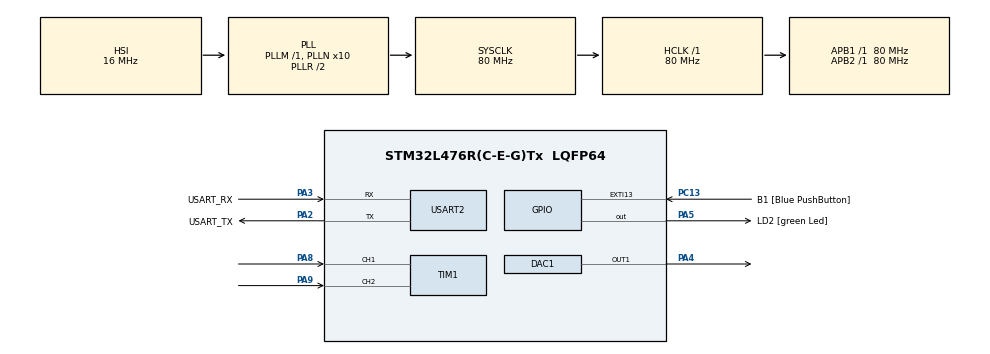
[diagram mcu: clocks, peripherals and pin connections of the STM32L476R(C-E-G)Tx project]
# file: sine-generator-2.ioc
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Dma.Request0=USART2_RX
Dma.USART2_RX.0.Direction=DMA_PERIPH_TO_MEMORY
Dma.USART2_RX.0.Instance=DMA1_Channel6
Dma.USART2_RX.0.MemDataAlignment=DMA_MDATAALIGN_BYTE
Dma.USART2_RX.0.MemInc=DMA_MINC_ENABLE
Dma.USART2_RX.0.Mode=DMA_NORMAL
Dma.USART2_RX.0.PeriphDataAlignment=DMA_PDATAALIGN_BYTE
Dma.USART2_RX.0.PeriphInc=DMA_PINC_DISABLE
Dma.USART2_RX.0.Priority=DMA_PRIORITY_LOW
FREERTOS.Mutexes01=encoderMutex,Dynamic,NULL,Available
FREERTOS.Queues01=encoderQueue,16,uint16_t,0,Dynamic,NULL,NULL
FREERTOS.Tasks01=encoderTask,32,128,StartEncoderTask,Default,NULL,Dynamic,NULL,NULL;dacTask,24,128,StartDacTask,Default,NULL,Dynamic,NULL,NULL;ledTask,8,128,StartLedTask,Default,NULL,Dynamic,NULL,NULL;uartTask,16,512,StartUartTask,Default,NULL,Dynamic,NULL,NULL
FREERTOS.configTOTAL_HEAP_SIZE=5000
FREERTOS.configUSE_NEWLIB_REENTRANT=1
Mcu.Family=STM32L4
Mcu.Name=STM32L476R(C-E-G)Tx
Mcu.Package=LQFP64
NVIC.DMA1_Channel6_IRQn=true\:5\:0\:false\:false\:true\:true\:false\:true\:true
NVIC.PriorityGroup=NVIC_PRIORITYGROUP_4
NVIC.TIM1_UP_TIM16_IRQn=true\:15\:0\:false\:false\:true\:false\:false\:true\:true
NVIC.TimeBase=TIM1_UP_TIM16_IRQn
NVIC.TimeBaseIP=TIM16
NVIC.USART2_IRQn=true\:5\:0\:false\:false\:true\:true\:true\:true\:true
PA13\ (JTMS-SWDIO).GPIO_Label=TMS
PA13\ (JTMS-SWDIO).Mode=Serial_Wire
PA13\ (JTMS-SWDIO).Signal=SYS_JTMS-SWDIO
PA14\ (JTCK-SWCLK).GPIO_Label=TCK
PA14\ (JTCK-SWCLK).Mode=Serial_Wire
PA14\ (JTCK-SWCLK).Signal=SYS_JTCK-SWCLK
PA2.GPIO_Label=USART_TX
PA2.GPIO_Mode=GPIO_MODE_AF_PP
PA2.GPIO_PuPd=GPIO_NOPULL
PA2.GPIO_Speed=GPIO_SPEED_FREQ_VERY_HIGH
PA2.Mode=Asynchronous
PA2.Signal=USART2_TX
PA3.GPIO_Label=USART_RX
PA3.GPIO_Mode=GPIO_MODE_AF_PP
PA3.GPIO_PuPd=GPIO_NOPULL
PA3.GPIO_Speed=GPIO_SPEED_FREQ_VERY_HIGH
PA3.Mode=Asynchronous
PA3.Signal=USART2_RX
PA4.Signal=COMP_DAC11_group
PA5.GPIO_Label=LD2 [green Led]
PA5.GPIO_ModeDefaultOutputPP=GPIO_MODE_OUTPUT_PP
PA5.GPIO_PuPd=GPIO_NOPULL
PA5.GPIO_Speed=GPIO_SPEED_FREQ_LOW
PA5.Signal=GPIO_Output
PA8.GPIO_PuPd=GPIO_PULLUP
PA8.Signal=S_TIM1_CH1
PA9.GPIO_PuPd=GPIO_PULLUP
PA9.Signal=S_TIM1_CH2
PB3\ (JTDO-TRACESWO).GPIO_Label=SWO
PB3\ (JTDO-TRACESWO).Signal=SYS_JTDO-SWO
PC13.GPIO_Label=B1 [Blue PushButton]
PC13.GPIO_ModeDefaultEXTI=GPIO_MODE_IT_FALLING
PC13.GPIO_PuPd=GPIO_NOPULL
PC13.Signal=GPXTI13
PC14-OSC32_IN\ (PC14).Signal=RCC_OSC32_IN
PC15-OSC32_OUT\ (PC15).Signal=RCC_OSC32_OUT
PH0-OSC_IN\ (PH0).Signal=RCC_OSC_IN
PH1-OSC_OUT\ (PH1).Signal=RCC_OSC_OUT
ProjectManager.HeapSize=0x200
ProjectManager.StackSize=0x400
ProjectManager.TargetToolchain=STM32CubeIDE
RCC.ADCFreq_Value=80000000
RCC.AHBFreq_Value=80000000
RCC.APB1Freq_Value=80000000
RCC.APB1TimFreq_Value=80000000
RCC.APB2Freq_Value=80000000
RCC.APB2TimFreq_Value=80000000
RCC.CortexFreq_Value=80000000
RCC.HCLKFreq_Value=80000000
RCC.HSE_VALUE=8000000
RCC.HSI_VALUE=16000000
RCC.LSE_VALUE=32768
RCC.MSI_VALUE=4000000
RCC.PLLN=10
RCC.PLLSAI1N=10
RCC.PLLSAI2N=10
RCC.PLLSourceVirtual=RCC_PLLSOURCE_HSI
RCC.PREFETCH_ENABLE=1
RCC.SYSCLKFreq_VALUE=80000000
RCC.SYSCLKSource=RCC_SYSCLKSOURCE_PLLCLK
RCC.USBFreq_Value=80000000
RCC.VCOOutputFreq_Value=160000000
SH.COMP_DAC11_group.0=DAC1_OUT1,DAC_OUT1
SH.S_TIM1_CH1.0=TIM1_CH1,Encoder_Interface
SH.S_TIM1_CH2.0=TIM1_CH2,Encoder_Interface
USART2.VirtualMode-Asynchronous=VM_ASYNC
VP_FREERTOS_VS_CMSIS_V2.Mode=CMSIS_V2
VP_SYS_VS_tim16.Mode=TIM16
board=NUCLEO-L476RG

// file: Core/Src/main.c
/* USER CODE BEGIN Header */
/**
 ******************************************************************************
 * @file           : main.c
 * @brief          : Main program body
 ******************************************************************************
 * @attention
 *
 * Copyright (c) 2026 STMicroelectronics.
 * All rights reserved.
 *
 * This software is licensed under terms that can be found in the LICENSE file
 * in the root directory of this software component.
 * If no LICENSE file comes with this software, it is provided AS-IS.
 *
 ******************************************************************************
 */
/* USER CODE END Header */
#include "main.h"
#include "cmsis_os.h"
#include "stdio.h"

DAC_HandleTypeDef hdac1;

TIM_HandleTypeDef htim1;

UART_HandleTypeDef huart2;
DMA_HandleTypeDef hdma_usart2_rx;

/* Definitions for encoderTask */
osThreadId_t encoderTaskHandle;
const osThreadAttr_t encoderTask_attributes = {
    .name = "encoderTask",
    .stack_size = 128 * 4,
    .priority = (osPriority_t)osPriorityAboveNormal,
};
/* Definitions for dacTask */
osThreadId_t dacTaskHandle;
const osThreadAttr_t dacTask_attributes = {
    .name = "dacTask",
    .stack_size = 128 * 4,
    .priority = (osPriority_t)osPriorityNormal,
};
/* Definitions for ledTask */
osThreadId_t ledTaskHandle;
const osThreadAttr_t ledTask_attributes = {
    .name = "ledTask",
    .stack_size = 128 * 4,
    .priority = (osPriority_t)osPriorityLow,
};
/* Definitions for uartTask */
osThreadId_t uartTaskHandle;
const osThreadAttr_t uartTask_attributes = {
    .name = "uartTask",
    .stack_size = 512 * 4,
    .priority = (osPriority_t)osPriorityBelowNormal,
};
/* Definitions for encoderQueue */
osMessageQueueId_t encoderQueueHandle;
const osMessageQueueAttr_t encoderQueue_attributes = {.name = "encoderQueue"};
/* Definitions for encoderMutex */
osMutexId_t encoderMutexHandle;
const osMutexAttr_t encoderMutex_attributes = {.name = "encoderMutex"};
/* USER CODE BEGIN PV */
#define RX_BUF_SIZE 64

uint8_t rx_buffer[RX_BUF_SIZE];

volatile uint32_t shared_encoder_value = 0;

#ifdef __GNUC__
#define PUTCHAR_PROTOTYPE int __io_putchar(int ch)
#else
#define PUTCHAR_PROTOTYPE int fputc(int ch, FILE *f)
#endif

PUTCHAR_PROTOTYPE {
  HAL_UART_Transmit(&huart2, (uint8_t *)&ch, 1, HAL_MAX_DELAY);
  return ch;
}
/* USER CODE END PV */

void SystemClock_Config(void);
static void MX_GPIO_Init(void);
static void MX_DMA_Init(void);
static void MX_TIM1_Init(void);
static void MX_DAC1_Init(void);
static void MX_USART2_UART_Init(void);
void StartEncoderTask(void *argument);
void StartDacTask(void *argument);
void StartLedTask(void *argument);
void StartUartTask(void *argument);

/* USER CODE BEGIN 0 */
volatile uint16_t enc = 0;
volatile uint8_t direction = 0;
volatile uint8_t rx_ready = 0;
/* USER CODE END 0 */

int main(void) {

  /* MCU Configuration--------------------------------------------------------*/

  /* Reset of all peripherals, Initializes the Flash interface and the Systick.
   */
  HAL_Init();

  /* Configure the system clock */
  SystemClock_Config();

  /* Initialize all configured peripherals */
  MX_GPIO_Init();
  MX_DMA_Init();
  MX_TIM1_Init();
  MX_DAC1_Init();
  MX_USART2_UART_Init();
  /* USER CODE BEGIN 2 */
  HAL_TIM_Encoder_Start(&htim1, TIM_CHANNEL_ALL);
  HAL_UART_Receive_DMA(&huart2, rx_buffer, RX_BUF_SIZE);
  /* USER CODE END 2 */

  /* Init scheduler */
  osKernelInitialize();
  /* Create the mutex(es) */
  /* creation of encoderMutex */
  encoderMutexHandle = osMutexNew(&encoderMutex_attributes);

  /* Create the queue(s) */
  /* creation of encoderQueue */
  encoderQueueHandle =
      osMessageQueueNew(16, sizeof(uint16_t), &encoderQueue_attributes);

  /* Create the thread(s) */
  /* creation of encoderTask */
  encoderTaskHandle =
      osThreadNew(StartEncoderTask, NULL, &encoderTask_attributes);

  /* creation of dacTask */
  dacTaskHandle = osThreadNew(StartDacTask, NULL, &dacTask_attributes);

  /* creation of ledTask */
  ledTaskHandle = osThreadNew(StartLedTask, NULL, &ledTask_attributes);

  /* creation of uartTask */
  uartTaskHandle = osThreadNew(StartUartTask, NULL, &uartTask_attributes);

  /* Start scheduler */
  osKernelStart();

  /* We should never get here as control is now taken by the scheduler */

  /* Infinite loop */
  while (1) {

  }
}

void SystemClock_Config(void) {
  RCC_OscInitTypeDef RCC_OscInitStruct = {0};
  RCC_ClkInitTypeDef RCC_ClkInitStruct = {0};

  /** Configure the main internal regulator output voltage
   */
  if (HAL_PWREx_ControlVoltageScaling(PWR_REGULATOR_VOLTAGE_SCALE1) != HAL_OK) {
    Error_Handler();
  }

  /** Initializes the RCC Oscillators according to the specified parameters
   * in the RCC_OscInitTypeDef structure.
   */
  RCC_OscInitStruct.OscillatorType = RCC_OSCILLATORTYPE_HSI;
  RCC_OscInitStruct.HSIState = RCC_HSI_ON;
  RCC_OscInitStruct.HSICalibrationValue = RCC_HSICALIBRATION_DEFAULT;
  RCC_OscInitStruct.PLL.PLLState = RCC_PLL_ON;
  RCC_OscInitStruct.PLL.PLLSource = RCC_PLLSOURCE_HSI;
  RCC_OscInitStruct.PLL.PLLM = 1;
  RCC_OscInitStruct.PLL.PLLN = 10;
  RCC_OscInitStruct.PLL.PLLP = RCC_PLLP_DIV7;
  RCC_OscInitStruct.PLL.PLLQ = RCC_PLLQ_DIV2;
  RCC_OscInitStruct.PLL.PLLR = RCC_PLLR_DIV2;
  if (HAL_RCC_OscConfig(&RCC_OscInitStruct) != HAL_OK) {
    Error_Handler();
  }

  /** Initializes the CPU, AHB and APB buses clocks
   */
  RCC_ClkInitStruct.ClockType = RCC_CLOCKTYPE_HCLK | RCC_CLOCKTYPE_SYSCLK |
                                RCC_CLOCKTYPE_PCLK1 | RCC_CLOCKTYPE_PCLK2;
  RCC_ClkInitStruct.SYSCLKSource = RCC_SYSCLKSOURCE_PLLCLK;
  RCC_ClkInitStruct.AHBCLKDivider = RCC_SYSCLK_DIV1;
  RCC_ClkInitStruct.APB1CLKDivider = RCC_HCLK_DIV1;
  RCC_ClkInitStruct.APB2CLKDivider = RCC_HCLK_DIV1;

  if (HAL_RCC_ClockConfig(&RCC_ClkInitStruct, FLASH_LATENCY_4) != HAL_OK) {
    Error_Handler();
  }
}

static void MX_DAC1_Init(void) {

  DAC_ChannelConfTypeDef sConfig = {0};

  /** DAC Initialization
   */
  hdac1.Instance = DAC1;
  if (HAL_DAC_Init(&hdac1) != HAL_OK) {
    Error_Handler();
  }

  /** DAC channel OUT1 config
   */
  sConfig.DAC_SampleAndHold = DAC_SAMPLEANDHOLD_DISABLE;
  sConfig.DAC_Trigger = DAC_TRIGGER_NONE;
  sConfig.DAC_OutputBuffer = DAC_OUTPUTBUFFER_ENABLE;
  sConfig.DAC_ConnectOnChipPeripheral = DAC_CHIPCONNECT_DISABLE;
  sConfig.DAC_UserTrimming = DAC_TRIMMING_FACTORY;
  if (HAL_DAC_ConfigChannel(&hdac1, &sConfig, DAC_CHANNEL_1) != HAL_OK) {
    Error_Handler();
  }
}

static void MX_TIM1_Init(void) {

  TIM_Encoder_InitTypeDef sConfig = {0};
  TIM_MasterConfigTypeDef sMasterConfig = {0};

  htim1.Instance = TIM1;
  htim1.Init.Prescaler = 0;
  htim1.Init.CounterMode = TIM_COUNTERMODE_UP;
  htim1.Init.Period = 65535;
  htim1.Init.ClockDivision = TIM_CLOCKDIVISION_DIV1;
  htim1.Init.RepetitionCounter = 0;
  htim1.Init.AutoReloadPreload = TIM_AUTORELOAD_PRELOAD_DISABLE;
  sConfig.EncoderMode = TIM_ENCODERMODE_TI1;
  sConfig.IC1Polarity = TIM_ICPOLARITY_RISING;
  sConfig.IC1Selection = TIM_ICSELECTION_DIRECTTI;
  sConfig.IC1Prescaler = TIM_ICPSC_DIV1;
  sConfig.IC1Filter = 0;
  sConfig.IC2Polarity = TIM_ICPOLARITY_RISING;
  sConfig.IC2Selection = TIM_ICSELECTION_DIRECTTI;
  sConfig.IC2Prescaler = TIM_ICPSC_DIV1;
  sConfig.IC2Filter = 0;
  if (HAL_TIM_Encoder_Init(&htim1, &sConfig) != HAL_OK) {
    Error_Handler();
  }
  sMasterConfig.MasterOutputTrigger = TIM_TRGO_RESET;
  sMasterConfig.MasterOutputTrigger2 = TIM_TRGO2_RESET;
  sMasterConfig.MasterSlaveMode = TIM_MASTERSLAVEMODE_DISABLE;
  if (HAL_TIMEx_MasterConfigSynchronization(&htim1, &sMasterConfig) != HAL_OK) {
    Error_Handler();
  }
}

static void MX_USART2_UART_Init(void) {

  huart2.Instance = USART2;
  huart2.Init.BaudRate = 115200;
  huart2.Init.WordLength = UART_WORDLENGTH_8B;
  huart2.Init.StopBits = UART_STOPBITS_1;
  huart2.Init.Parity = UART_PARITY_NONE;
  huart2.Init.Mode = UART_MODE_TX_RX;
  huart2.Init.HwFlowCtl = UART_HWCONTROL_NONE;
  huart2.Init.OverSampling = UART_OVERSAMPLING_16;
  huart2.Init.OneBitSampling = UART_ONE_BIT_SAMPLE_DISABLE;
  huart2.AdvancedInit.AdvFeatureInit = UART_ADVFEATURE_NO_INIT;
  if (HAL_UART_Init(&huart2) != HAL_OK) {
    Error_Handler();
  }
}

static void MX_DMA_Init(void) {

  /* DMA controller clock enable */
  __HAL_RCC_DMA1_CLK_ENABLE();

  /* DMA interrupt init */
  /* DMA1_Channel6_IRQn interrupt configuration */
  HAL_NVIC_SetPriority(DMA1_Channel6_IRQn, 5, 0);
  HAL_NVIC_EnableIRQ(DMA1_Channel6_IRQn);
}

static void MX_GPIO_Init(void) {
  GPIO_InitTypeDef GPIO_InitStruct = {0};

  /* GPIO Ports Clock Enable */
  __HAL_RCC_GPIOC_CLK_ENABLE();
  __HAL_RCC_GPIOH_CLK_ENABLE();
  __HAL_RCC_GPIOA_CLK_ENABLE();
  __HAL_RCC_GPIOB_CLK_ENABLE();

  /*Configure GPIO pin Output Level */
  HAL_GPIO_WritePin(LD2_GPIO_Port, LD2_Pin, GPIO_PIN_RESET);

  /*Configure GPIO pin : B1_Pin */
  GPIO_InitStruct.Pin = B1_Pin;
  GPIO_InitStruct.Mode = GPIO_MODE_IT_FALLING;
  GPIO_InitStruct.Pull = GPIO_NOPULL;
  HAL_GPIO_Init(B1_GPIO_Port, &GPIO_InitStruct);

  /*Configure GPIO pin : LD2_Pin */
  GPIO_InitStruct.Pin = LD2_Pin;
  GPIO_InitStruct.Mode = GPIO_MODE_OUTPUT_PP;
  GPIO_InitStruct.Pull = GPIO_NOPULL;
  GPIO_InitStruct.Speed = GPIO_SPEED_FREQ_LOW;
  HAL_GPIO_Init(LD2_GPIO_Port, &GPIO_InitStruct);

}

void StartEncoderTask(void *argument) {
  /* USER CODE BEGIN 5 */
  uint16_t enc;
  /* Infinite loop */
  for (;;) {
    enc = __HAL_TIM_GET_COUNTER(&htim1);
    direction = __HAL_TIM_IS_TIM_COUNTING_DOWN(&htim1);
    osMessageQueuePut(encoderQueueHandle, &enc, 0, 0);
    osDelay(20);
  }
  /* USER CODE END 5 */
}

void StartDacTask(void *argument) {
  /* USER CODE BEGIN StartDacTask */
  uint16_t enc;
  HAL_DAC_Start(&hdac1, DAC_CHANNEL_1);
  /* Infinite loop */
  for (;;) {
    if (osMessageQueueGet(encoderQueueHandle, &enc, NULL, osWaitForever) ==
        osOK) {
      if (osMutexAcquire(encoderMutexHandle, osWaitForever) == osOK) {
        shared_encoder_value = enc;
        osMutexRelease(encoderMutexHandle);
      }
      uint32_t dac_value = enc >> 4;
      HAL_DAC_SetValue(&hdac1, DAC_CHANNEL_1, DAC_ALIGN_12B_R, dac_value);
    }
  }
  /* USER CODE END StartDacTask */
}

void StartLedTask(void *argument) {
  /* USER CODE BEGIN StartLedTask */
  /* Infinite loop */
  for (;;) {
    uint16_t enc = 0;
    if (osMutexAcquire(encoderMutexHandle, osWaitForever) == osOK) {
      enc = shared_encoder_value;
      osMutexRelease(encoderMutexHandle);
    }
    HAL_GPIO_TogglePin(LD2_GPIO_Port, LD2_Pin);
    osDelay(50 + (enc % 200));
  }
  /* USER CODE END StartLedTask */
}

void StartUartTask(void *argument) {
  /* USER CODE BEGIN StartUartTask */
  /* Infinite loop */
  for (;;) {
    uint16_t enc = 0;
    if (osMutexAcquire(encoderMutexHandle, osWaitForever) == osOK) {
      enc = shared_encoder_value;
      osMutexRelease(encoderMutexHandle);
    }
    uint32_t dac = enc >> 4;
    printf("Encoder: %d | DAC: %lu\r\n", enc, dac);
    osDelay(150);
  }
  /* USER CODE END StartUartTask */
}

void HAL_TIM_PeriodElapsedCallback(TIM_HandleTypeDef *htim) {
  if (htim->Instance == TIM16) {
    HAL_IncTick();
  }
}

void Error_Handler(void) {
  __disable_irq();
  while (1) {
  }
}
#ifdef USE_FULL_ASSERT
/**
 * @brief  Reports the name of the source file and the source line number
 *         where the assert_param error has occurred.
 * @param  file: pointer to the source file name
 * @param  line: assert_param error line source number
 * @retval None
 */
void assert_failed(uint8_t *file, uint32_t line) {
  /* USER CODE BEGIN 6 */
  /* User can add his own implementation to report the file name and line
     number, ex: printf("Wrong parameters value: file %s on line %d\r\n", file,
     line) */
  /* USER CODE END 6 */
}
#endif /* USE_FULL_ASSERT */
